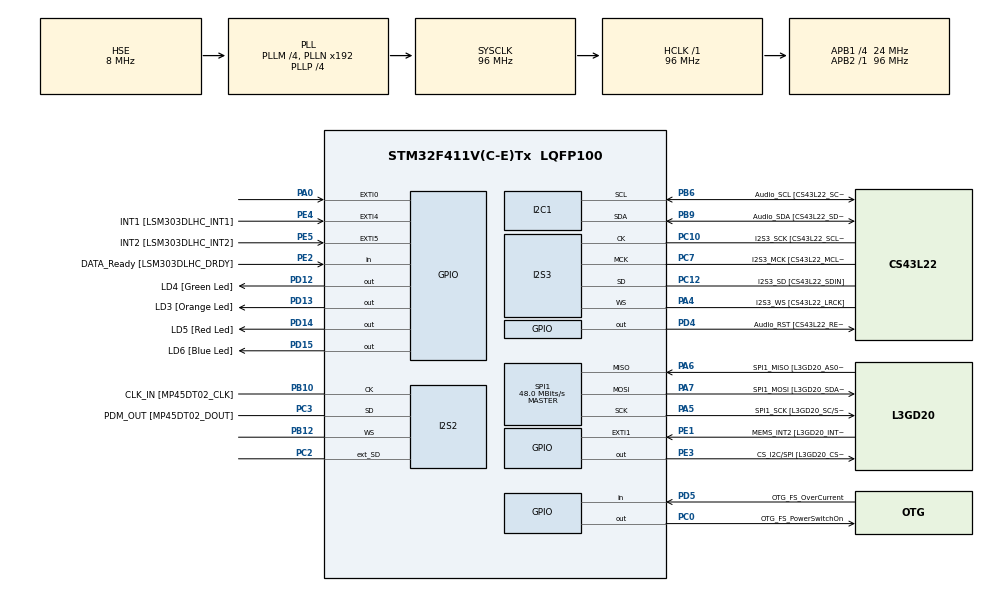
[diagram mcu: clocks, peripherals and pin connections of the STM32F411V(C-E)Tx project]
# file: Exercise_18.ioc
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FREERTOS.Tasks01=RedTask,0,128,StartRedTask,Default,NULL,Dynamic,NULL,NULL;GreenTask,0,128,StartGreenTask,Default,NULL,Dynamic,NULL,NULL;FlashRateContro,0,128,StartFlashRateControlTask,Default,NULL,Dynamic,NULL,NULL
I2S2.AudioFreq=I2S_AUDIOFREQ_96K
I2S2.ErrorAudioFreq=0.15 %
I2S2.FullDuplexMode=I2S_FULLDUPLEXMODE_ENABLE
I2S2.Instance=SPI$Index
I2S2.RealAudioFreq=96.153 KHz
I2S2.VirtualMode=I2S_MODE_MASTER
I2S3.AudioFreq=I2S_AUDIOFREQ_96K
I2S3.ErrorAudioFreq=-6.99 %
I2S3.FullDuplexMode=I2S_FULLDUPLEXMODE_DISABLE
I2S3.Instance=SPI$Index
I2S3.RealAudioFreq=89.285 KHz
I2S3.VirtualMode=I2S_MODE_MASTER
Mcu.Family=STM32F4
Mcu.Name=STM32F411V(C-E)Tx
Mcu.Package=LQFP100
NVIC.PriorityGroup=NVIC_PRIORITYGROUP_4
NVIC.TIM1_UP_TIM10_IRQn=true\:0\:0\:false\:false\:true\:false\:false\:true
NVIC.TimeBase=TIM1_UP_TIM10_IRQn
NVIC.TimeBaseIP=TIM1
PA0-WKUP.GPIO_ModeDefaultEXTI=GPIO_MODE_EVT_RISING
PA0-WKUP.Signal=GPXTI0
PA10.GPIO_Label=OTG_FS_ID
PA10.Signal=USB_OTG_FS_ID
PA11.GPIO_Label=OTG_FS_DM
PA11.Signal=USB_OTG_FS_DM
PA12.GPIO_Label=OTG_FS_DP
PA12.Signal=USB_OTG_FS_DP
PA13.GPIO_Label=SWDIO
PA13.Mode=Serial_Wire
PA13.Signal=SYS_JTMS-SWDIO
PA14.GPIO_Label=SWCLK
PA14.Mode=Serial_Wire
PA14.Signal=SYS_JTCK-SWCLK
PA4.GPIO_Label=I2S3_WS [CS43L22_LRCK]
PA4.GPIO_Mode=GPIO_MODE_AF_PP
PA4.GPIO_PuPd=GPIO_NOPULL
PA4.GPIO_Speed=GPIO_SPEED_FREQ_LOW
PA4.Mode=Half_Duplex_Master
PA4.Signal=I2S3_WS
PA5.GPIO_Label=SPI1_SCK [L3GD20_SC/SPC]
PA5.Mode=Full_Duplex_Master
PA5.Signal=SPI1_SCK
PA6.GPIO_Label=SPI1_MISO [L3GD20_AS0/SDO]
PA6.Mode=Full_Duplex_Master
PA6.Signal=SPI1_MISO
PA7.GPIO_Label=SPI1_MOSI [L3GD20_SDA/SDI/SDO]
PA7.Mode=Full_Duplex_Master
PA7.Signal=SPI1_MOSI
PA9.GPIO_Label=VBUS_FS
PA9.Signal=USB_OTG_FS_VBUS
PB10.GPIO_Label=CLK_IN [MP45DT02_CLK]
PB10.Mode=Full_Duplex_Master
PB10.Signal=I2S2_CK
PB12.Mode=Full_Duplex_Master
PB12.Signal=I2S2_WS
PB3.GPIO_Label=SWO
PB3.Signal=SYS_JTDO-SWO
PB6.GPIO_Label=Audio_SCL [CS43L22_SCL]
PB6.GPIO_Mode=GPIO_MODE_AF_OD
PB6.GPIO_PuPd=GPIO_NOPULL
PB6.GPIO_Speed=GPIO_SPEED_FREQ_LOW
PB6.Mode=I2C
PB6.Signal=I2C1_SCL
PB9.GPIO_Label=Audio_SDA [CS43L22_SDA]
PB9.GPIO_Mode=GPIO_MODE_AF_OD
PB9.GPIO_PuPd=GPIO_NOPULL
PB9.GPIO_Speed=GPIO_SPEED_FREQ_LOW
PB9.Mode=I2C
PB9.Signal=I2C1_SDA
PC0.GPIO_Label=OTG_FS_PowerSwitchOn
PC0.PinState=GPIO_PIN_SET
PC0.Signal=GPIO_Output
PC10.GPIO_Label=I2S3_SCK [CS43L22_SCLK]
PC10.GPIO_Mode=GPIO_MODE_AF_PP
PC10.GPIO_PuPd=GPIO_NOPULL
PC10.GPIO_Speed=GPIO_SPEED_FREQ_LOW
PC10.Mode=Half_Duplex_Master
PC10.Signal=I2S3_CK
PC12.GPIO_Label=I2S3_SD [CS43L22_SDIN]
PC12.GPIO_Mode=GPIO_MODE_AF_PP
PC12.GPIO_PuPd=GPIO_NOPULL
PC12.GPIO_Speed=GPIO_SPEED_FREQ_LOW
PC12.Mode=Half_Duplex_Master
PC12.Signal=I2S3_SD
PC14-OSC32_IN.GPIO_Label=PC14-OSC32_IN
PC14-OSC32_IN.Mode=LSE-External-Oscillator
PC14-OSC32_IN.Signal=RCC_OSC32_IN
PC15-OSC32_OUT.GPIO_Label=PC15-OSC32_OUT
PC15-OSC32_OUT.Mode=LSE-External-Oscillator
PC15-OSC32_OUT.Signal=RCC_OSC32_OUT
PC2.Mode=Full_Duplex_Master
PC2.Signal=I2S2_ext_SD
PC3.GPIO_Label=PDM_OUT [MP45DT02_DOUT]
PC3.Mode=Full_Duplex_Master
PC3.Signal=I2S2_SD
PC7.GPIO_Label=I2S3_MCK [CS43L22_MCLK]
PC7.GPIO_Mode=GPIO_MODE_AF_PP
PC7.GPIO_PuPd=GPIO_NOPULL
PC7.GPIO_Speed=GPIO_SPEED_FREQ_LOW
PC7.Mode=Master_Clock_Activated
PC7.Signal=I2S3_MCK
PD12.GPIO_Label=LD4 [Green Led]
PD12.GPIO_PuPd=GPIO_NOPULL
PD12.GPIO_Speed=GPIO_SPEED_FREQ_LOW
PD12.Signal=GPIO_Output
PD13.GPIO_Label=LD3 [Orange Led]
PD13.GPIO_PuPd=GPIO_NOPULL
PD13.GPIO_Speed=GPIO_SPEED_FREQ_LOW
PD13.Signal=GPIO_Output
PD14.GPIO_Label=LD5 [Red Led]
PD14.GPIO_PuPd=GPIO_NOPULL
PD14.GPIO_Speed=GPIO_SPEED_FREQ_LOW
PD14.Signal=GPIO_Output
PD15.GPIO_Label=LD6 [Blue Led]
PD15.GPIO_PuPd=GPIO_NOPULL
PD15.GPIO_Speed=GPIO_SPEED_FREQ_LOW
PD15.Signal=GPIO_Output
PD4.GPIO_Label=Audio_RST [CS43L22_RESET]
PD4.Signal=GPIO_Output
PD5.GPIO_Label=OTG_FS_OverCurrent
PD5.Signal=GPIO_Input
PE1.GPIO_Label=MEMS_INT2 [L3GD20_INT2]
PE1.GPIO_ModeDefaultEXTI=GPIO_MODE_EVT_RISING
PE1.Signal=GPXTI1
PE2.GPIO_Label=DATA_Ready [LSM303DLHC_DRDY]
PE2.Signal=GPIO_Input
PE3.GPIO_Label=CS_I2C/SPI [L3GD20_CS_I2C/SPI]
PE3.Signal=GPIO_Output
PE4.GPIO_Label=INT1 [LSM303DLHC_INT1]
PE4.GPIO_ModeDefaultEXTI=GPIO_MODE_EVT_RISING
PE4.Signal=GPXTI4
PE5.GPIO_Label=INT2 [LSM303DLHC_INT2]
PE5.GPIO_ModeDefaultEXTI=GPIO_MODE_EVT_RISING
PE5.Signal=GPXTI5
PH0\ -\ OSC_IN.GPIO_Label=PH0-OSC_IN
PH0\ -\ OSC_IN.Mode=HSE-External-Clock-Source
PH0\ -\ OSC_IN.Signal=RCC_OSC_IN
PH1\ -\ OSC_OUT.GPIO_Label=PH1-OSC_OUT
PH1\ -\ OSC_OUT.Mode=HSE-External-Clock-Source
PH1\ -\ OSC_OUT.Signal=RCC_OSC_OUT
ProjectManager.HeapSize=0x200
ProjectManager.StackSize=0x400
ProjectManager.TargetToolchain=STM32CubeIDE
RCC.48MHZClocksFreq_Value=48000000
RCC.AHBFreq_Value=96000000
RCC.APB1CLKDivider=RCC_HCLK_DIV4
RCC.APB1Freq_Value=24000000
RCC.APB1TimFreq_Value=48000000
RCC.APB2Freq_Value=96000000
RCC.APB2TimFreq_Value=96000000
RCC.CortexFreq_Value=96000000
RCC.HCLKFreq_Value=96000000
RCC.HSE_VALUE=8000000
RCC.HSI_VALUE=16000000
RCC.PLLI2SM=5
RCC.PLLI2SN=200
RCC.PLLM=4
RCC.PLLP=RCC_PLLP_DIV4
RCC.PLLQ=8
RCC.PLLSourceVirtual=RCC_PLLSOURCE_HSE
RCC.SYSCLKFreq_VALUE=96000000
RCC.SYSCLKSource=RCC_SYSCLKSOURCE_PLLCLK
RCC.VCOOutputFreq_Value=384000000
SPI1.BaudRatePrescaler=SPI_BAUDRATEPRESCALER_2
SPI1.CalculateBaudRate=48.0 MBits/s
SPI1.Direction=SPI_DIRECTION_2LINES
SPI1.Mode=SPI_MODE_MASTER
SPI1.VirtualType=VM_MASTER
VP_FREERTOS_VS_CMSIS_V1.Mode=CMSIS_V1
VP_SYS_VS_tim1.Mode=TIM1
board=STM32F411E-DISCO

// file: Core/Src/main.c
/* USER CODE BEGIN Header */
/**
  ******************************************************************************
  * @file           : main.c
  * @brief          : Main program body
  ******************************************************************************
  * @attention
  *
  * <h2><center>&copy; Copyright (c) 2023 STMicroelectronics.
  * All rights reserved.</center></h2>
  *
  * This software component is licensed by ST under Ultimate Liberty license
  * SLA0044, the "License"; You may not use this file except in compliance with
  * the License. You may obtain a copy of the License at:
  *                             www.st.com/SLA0044
  *
  ******************************************************************************
  */
/* USER CODE END Header */

#include "main.h"
#include "cmsis_os.h"
#include "CriticalCodeUnit.h"

#define green GPIO_PIN_12
#define orange GPIO_PIN_13
#define red GPIO_PIN_14
#define blue GPIO_PIN_15

I2C_HandleTypeDef hi2c1;

I2S_HandleTypeDef hi2s2;
I2S_HandleTypeDef hi2s3;

SPI_HandleTypeDef hspi1;

osThreadId RedTaskHandle;
osThreadId GreenTaskHandle;
osThreadId FlashRateControHandle;

void SystemClock_Config(void);
static void MX_GPIO_Init(void);
static void MX_I2C1_Init(void);
static void MX_I2S2_Init(void);
static void MX_I2S3_Init(void);
static void MX_SPI1_Init(void);
void StartRedTask(void const * argument);
void StartGreenTask(void const * argument);
void StartFlashRateControlTask(void const * argument);

int main(void)
{
  /* USER CODE BEGIN 1 */
	InitSemaphore();
  /* USER CODE END 1 */

  /* MCU Configuration--------------------------------------------------------*/

  /* Reset of all peripherals, Initializes the Flash interface and the Systick. */
  HAL_Init();

  /* Configure the system clock */
  SystemClock_Config();

  /* Initialize all configured peripherals */
  MX_GPIO_Init();
  MX_I2C1_Init();
  MX_I2S2_Init();
  MX_I2S3_Init();
  MX_SPI1_Init();

  /* Create the thread(s) */
  /* definition and creation of RedTask */
  osThreadDef(RedTask, StartRedTask, osPriorityNormal, 0, 128);
  RedTaskHandle = osThreadCreate(osThread(RedTask), NULL);

  /* definition and creation of GreenTask */
  osThreadDef(GreenTask, StartGreenTask, osPriorityNormal, 0, 128);
  GreenTaskHandle = osThreadCreate(osThread(GreenTask), NULL);

  /* definition and creation of FlashRateContro */
  osThreadDef(FlashRateContro, StartFlashRateControlTask, osPriorityNormal, 0, 128);
  FlashRateControHandle = osThreadCreate(osThread(FlashRateContro), NULL);

  /* Start scheduler */
  osKernelStart();

  /* We should never get here as control is now taken by the scheduler */

  /* Infinite loop */
  while (1)
  {

  }
}

void SystemClock_Config(void)
{
  RCC_OscInitTypeDef RCC_OscInitStruct = {0};
  RCC_ClkInitTypeDef RCC_ClkInitStruct = {0};
  RCC_PeriphCLKInitTypeDef PeriphClkInitStruct = {0};

  /** Configure the main internal regulator output voltage
  */
  __HAL_RCC_PWR_CLK_ENABLE();
  __HAL_PWR_VOLTAGESCALING_CONFIG(PWR_REGULATOR_VOLTAGE_SCALE1);
  /** Initializes the CPU, AHB and APB busses clocks
  */
  RCC_OscInitStruct.OscillatorType = RCC_OSCILLATORTYPE_HSE;
  RCC_OscInitStruct.HSEState = RCC_HSE_BYPASS;
  RCC_OscInitStruct.PLL.PLLState = RCC_PLL_ON;
  RCC_OscInitStruct.PLL.PLLSource = RCC_PLLSOURCE_HSE;
  RCC_OscInitStruct.PLL.PLLM = 4;
  RCC_OscInitStruct.PLL.PLLN = 192;
  RCC_OscInitStruct.PLL.PLLP = RCC_PLLP_DIV4;
  RCC_OscInitStruct.PLL.PLLQ = 8;
  if (HAL_RCC_OscConfig(&RCC_OscInitStruct) != HAL_OK)
  {
    Error_Handler();
  }
  /** Initializes the CPU, AHB and APB busses clocks
  */
  RCC_ClkInitStruct.ClockType = RCC_CLOCKTYPE_HCLK|RCC_CLOCKTYPE_SYSCLK
                              |RCC_CLOCKTYPE_PCLK1|RCC_CLOCKTYPE_PCLK2;
  RCC_ClkInitStruct.SYSCLKSource = RCC_SYSCLKSOURCE_PLLCLK;
  RCC_ClkInitStruct.AHBCLKDivider = RCC_SYSCLK_DIV1;
  RCC_ClkInitStruct.APB1CLKDivider = RCC_HCLK_DIV4;
  RCC_ClkInitStruct.APB2CLKDivider = RCC_HCLK_DIV1;

  if (HAL_RCC_ClockConfig(&RCC_ClkInitStruct, FLASH_LATENCY_3) != HAL_OK)
  {
    Error_Handler();
  }
  PeriphClkInitStruct.PeriphClockSelection = RCC_PERIPHCLK_I2S;
  PeriphClkInitStruct.PLLI2S.PLLI2SN = 200;
  PeriphClkInitStruct.PLLI2S.PLLI2SM = 5;
  PeriphClkInitStruct.PLLI2S.PLLI2SR = 2;
  if (HAL_RCCEx_PeriphCLKConfig(&PeriphClkInitStruct) != HAL_OK)
  {
    Error_Handler();
  }
}

static void MX_I2C1_Init(void)
{

  hi2c1.Instance = I2C1;
  hi2c1.Init.ClockSpeed = 100000;
  hi2c1.Init.DutyCycle = I2C_DUTYCYCLE_2;
  hi2c1.Init.OwnAddress1 = 0;
  hi2c1.Init.AddressingMode = I2C_ADDRESSINGMODE_7BIT;
  hi2c1.Init.DualAddressMode = I2C_DUALADDRESS_DISABLE;
  hi2c1.Init.OwnAddress2 = 0;
  hi2c1.Init.GeneralCallMode = I2C_GENERALCALL_DISABLE;
  hi2c1.Init.NoStretchMode = I2C_NOSTRETCH_DISABLE;
  if (HAL_I2C_Init(&hi2c1) != HAL_OK)
  {
    Error_Handler();
  }

}

static void MX_I2S2_Init(void)
{

  hi2s2.Instance = SPI2;
  hi2s2.Init.Mode = I2S_MODE_MASTER_TX;
  hi2s2.Init.Standard = I2S_STANDARD_PHILIPS;
  hi2s2.Init.DataFormat = I2S_DATAFORMAT_16B;
  hi2s2.Init.MCLKOutput = I2S_MCLKOUTPUT_DISABLE;
  hi2s2.Init.AudioFreq = I2S_AUDIOFREQ_96K;
  hi2s2.Init.CPOL = I2S_CPOL_LOW;
  hi2s2.Init.ClockSource = I2S_CLOCK_PLL;
  hi2s2.Init.FullDuplexMode = I2S_FULLDUPLEXMODE_ENABLE;
  if (HAL_I2S_Init(&hi2s2) != HAL_OK)
  {
    Error_Handler();
  }

}

static void MX_I2S3_Init(void)
{

  hi2s3.Instance = SPI3;
  hi2s3.Init.Mode = I2S_MODE_MASTER_TX;
  hi2s3.Init.Standard = I2S_STANDARD_PHILIPS;
  hi2s3.Init.DataFormat = I2S_DATAFORMAT_16B;
  hi2s3.Init.MCLKOutput = I2S_MCLKOUTPUT_ENABLE;
  hi2s3.Init.AudioFreq = I2S_AUDIOFREQ_96K;
  hi2s3.Init.CPOL = I2S_CPOL_LOW;
  hi2s3.Init.ClockSource = I2S_CLOCK_PLL;
  hi2s3.Init.FullDuplexMode = I2S_FULLDUPLEXMODE_DISABLE;
  if (HAL_I2S_Init(&hi2s3) != HAL_OK)
  {
    Error_Handler();
  }

}

static void MX_SPI1_Init(void)
{

  /* SPI1 parameter configuration*/
  hspi1.Instance = SPI1;
  hspi1.Init.Mode = SPI_MODE_MASTER;
  hspi1.Init.Direction = SPI_DIRECTION_2LINES;
  hspi1.Init.DataSize = SPI_DATASIZE_8BIT;
  hspi1.Init.CLKPolarity = SPI_POLARITY_LOW;
  hspi1.Init.CLKPhase = SPI_PHASE_1EDGE;
  hspi1.Init.NSS = SPI_NSS_SOFT;
  hspi1.Init.BaudRatePrescaler = SPI_BAUDRATEPRESCALER_2;
  hspi1.Init.FirstBit = SPI_FIRSTBIT_MSB;
  hspi1.Init.TIMode = SPI_TIMODE_DISABLE;
  hspi1.Init.CRCCalculation = SPI_CRCCALCULATION_DISABLE;
  hspi1.Init.CRCPolynomial = 10;
  if (HAL_SPI_Init(&hspi1) != HAL_OK)
  {
    Error_Handler();
  }

}

static void MX_GPIO_Init(void)
{
  GPIO_InitTypeDef GPIO_InitStruct = {0};

  /* GPIO Ports Clock Enable */
  __HAL_RCC_GPIOE_CLK_ENABLE();
  __HAL_RCC_GPIOC_CLK_ENABLE();
  __HAL_RCC_GPIOH_CLK_ENABLE();
  __HAL_RCC_GPIOA_CLK_ENABLE();
  __HAL_RCC_GPIOB_CLK_ENABLE();
  __HAL_RCC_GPIOD_CLK_ENABLE();

  /*Configure GPIO pin Output Level */
  HAL_GPIO_WritePin(CS_I2C_SPI_GPIO_Port, CS_I2C_SPI_Pin, GPIO_PIN_RESET);

  /*Configure GPIO pin Output Level */
  HAL_GPIO_WritePin(OTG_FS_PowerSwitchOn_GPIO_Port, OTG_FS_PowerSwitchOn_Pin, GPIO_PIN_SET);

  /*Configure GPIO pin Output Level */
  HAL_GPIO_WritePin(GPIOD, LD4_Pin|LD3_Pin|LD5_Pin|LD6_Pin
                          |Audio_RST_Pin, GPIO_PIN_RESET);

  /*Configure GPIO pin : DATA_Ready_Pin */
  GPIO_InitStruct.Pin = DATA_Ready_Pin;
  GPIO_InitStruct.Mode = GPIO_MODE_INPUT;
  GPIO_InitStruct.Pull = GPIO_NOPULL;
  HAL_GPIO_Init(DATA_Ready_GPIO_Port, &GPIO_InitStruct);

  /*Configure GPIO pin : CS_I2C_SPI_Pin */
  GPIO_InitStruct.Pin = CS_I2C_SPI_Pin;
  GPIO_InitStruct.Mode = GPIO_MODE_OUTPUT_PP;
  GPIO_InitStruct.Pull = GPIO_NOPULL;
  GPIO_InitStruct.Speed = GPIO_SPEED_FREQ_LOW;
  HAL_GPIO_Init(CS_I2C_SPI_GPIO_Port, &GPIO_InitStruct);

  /*Configure GPIO pins : INT1_Pin INT2_Pin MEMS_INT2_Pin */
  GPIO_InitStruct.Pin = INT1_Pin|INT2_Pin|MEMS_INT2_Pin;
  GPIO_InitStruct.Mode = GPIO_MODE_EVT_RISING;
  GPIO_InitStruct.Pull = GPIO_NOPULL;
  HAL_GPIO_Init(GPIOE, &GPIO_InitStruct);

  /*Configure GPIO pin : OTG_FS_PowerSwitchOn_Pin */
  GPIO_InitStruct.Pin = OTG_FS_PowerSwitchOn_Pin;
  GPIO_InitStruct.Mode = GPIO_MODE_OUTPUT_PP;
  GPIO_InitStruct.Pull = GPIO_NOPULL;
  GPIO_InitStruct.Speed = GPIO_SPEED_FREQ_LOW;
  HAL_GPIO_Init(OTG_FS_PowerSwitchOn_GPIO_Port, &GPIO_InitStruct);

  /*Configure GPIO pin : PA0 */
  GPIO_InitStruct.Pin = GPIO_PIN_0;
  GPIO_InitStruct.Mode = GPIO_MODE_EVT_RISING;
  GPIO_InitStruct.Pull = GPIO_NOPULL;
  HAL_GPIO_Init(GPIOA, &GPIO_InitStruct);

  /*Configure GPIO pins : LD4_Pin LD3_Pin LD5_Pin LD6_Pin
                           Audio_RST_Pin */
  GPIO_InitStruct.Pin = LD4_Pin|LD3_Pin|LD5_Pin|LD6_Pin
                          |Audio_RST_Pin;
  GPIO_InitStruct.Mode = GPIO_MODE_OUTPUT_PP;
  GPIO_InitStruct.Pull = GPIO_NOPULL;
  GPIO_InitStruct.Speed = GPIO_SPEED_FREQ_LOW;
  HAL_GPIO_Init(GPIOD, &GPIO_InitStruct);

  /*Configure GPIO pin : VBUS_FS_Pin */
  GPIO_InitStruct.Pin = VBUS_FS_Pin;
  GPIO_InitStruct.Mode = GPIO_MODE_INPUT;
  GPIO_InitStruct.Pull = GPIO_NOPULL;
  HAL_GPIO_Init(VBUS_FS_GPIO_Port, &GPIO_InitStruct);

  /*Configure GPIO pins : OTG_FS_ID_Pin OTG_FS_DM_Pin OTG_FS_DP_Pin */
  GPIO_InitStruct.Pin = OTG_FS_ID_Pin|OTG_FS_DM_Pin|OTG_FS_DP_Pin;
  GPIO_InitStruct.Mode = GPIO_MODE_AF_PP;
  GPIO_InitStruct.Pull = GPIO_NOPULL;
  GPIO_InitStruct.Speed = GPIO_SPEED_FREQ_VERY_HIGH;
  GPIO_InitStruct.Alternate = GPIO_AF10_OTG_FS;
  HAL_GPIO_Init(GPIOA, &GPIO_InitStruct);

  /*Configure GPIO pin : OTG_FS_OverCurrent_Pin */
  GPIO_InitStruct.Pin = OTG_FS_OverCurrent_Pin;
  GPIO_InitStruct.Mode = GPIO_MODE_INPUT;
  GPIO_InitStruct.Pull = GPIO_NOPULL;
  HAL_GPIO_Init(OTG_FS_OverCurrent_GPIO_Port, &GPIO_InitStruct);

}

void StartRedTask(void const * argument)
{
  /* USER CODE BEGIN 5 */
  /* Infinite loop */
	int y, highTime, lowTime, countLimit;
	for(;;)
	{
		y = GetShared('R'); // Reads Flashing Rate from the Pool
		osDelay(6000); // ~ 6 seconds delay
		if(y == 1)
		{
			highTime = 500;
			lowTime = highTime;
			countLimit = 10;
		}

		else if ( y == 10)
		{
			highTime = 50;
			lowTime = highTime;
			countLimit = 10;
		}

		for(int i = 0; i < countLimit; i++)
		{
			HAL_GPIO_WritePin(GPIOD, red, GPIO_PIN_SET);
			osDelay(highTime);
			HAL_GPIO_WritePin(GPIOD, red, GPIO_PIN_RESET);
			osDelay(lowTime);
		}
  }
  /* USER CODE END 5 */
}

void StartGreenTask(void const * argument)
{
  /* USER CODE BEGIN StartGreenTask */
  /* Infinite loop */
	int y, highTime, lowTime, countLimit;
	for(;;)
	{
		y = GetShared('G'); // Reads Flashing Rate from the Pool
		osDelay(10000); // ~ 10 seconds delay
		if(y == 1)
		{
			highTime = 500;
			lowTime = highTime;
			countLimit = 10;
		}

		else if ( y == 10)
		{
			highTime = 50;
			lowTime = highTime;
			countLimit = 10;
		}

		for(int i = 0; i < countLimit; i++)
		{
			HAL_GPIO_WritePin(GPIOD, green, GPIO_PIN_SET);
			osDelay(highTime);
			HAL_GPIO_WritePin(GPIOD, green, GPIO_PIN_RESET);
			osDelay(lowTime);
		}
  }
  /* USER CODE END StartGreenTask */
}

void StartFlashRateControlTask(void const * argument)
{
  /* USER CODE BEGIN StartFlashRateControlTask */
  /* Infinite loop */
  for(;;)
  {
    osDelay(8000);
    SetShared('R', 10);
    SetShared('G', 1);
    osDelay(8000);
    SetShared('G', 10);
    SetShared('R', 1);
  }
  /* USER CODE END StartFlashRateControlTask */
}

void HAL_TIM_PeriodElapsedCallback(TIM_HandleTypeDef *htim)
{
  if (htim->Instance == TIM1) {
    HAL_IncTick();
  }
}

void Error_Handler(void)
{
}

/************************ (C) COPYRIGHT STMicroelectronics *****END OF FILE****/
